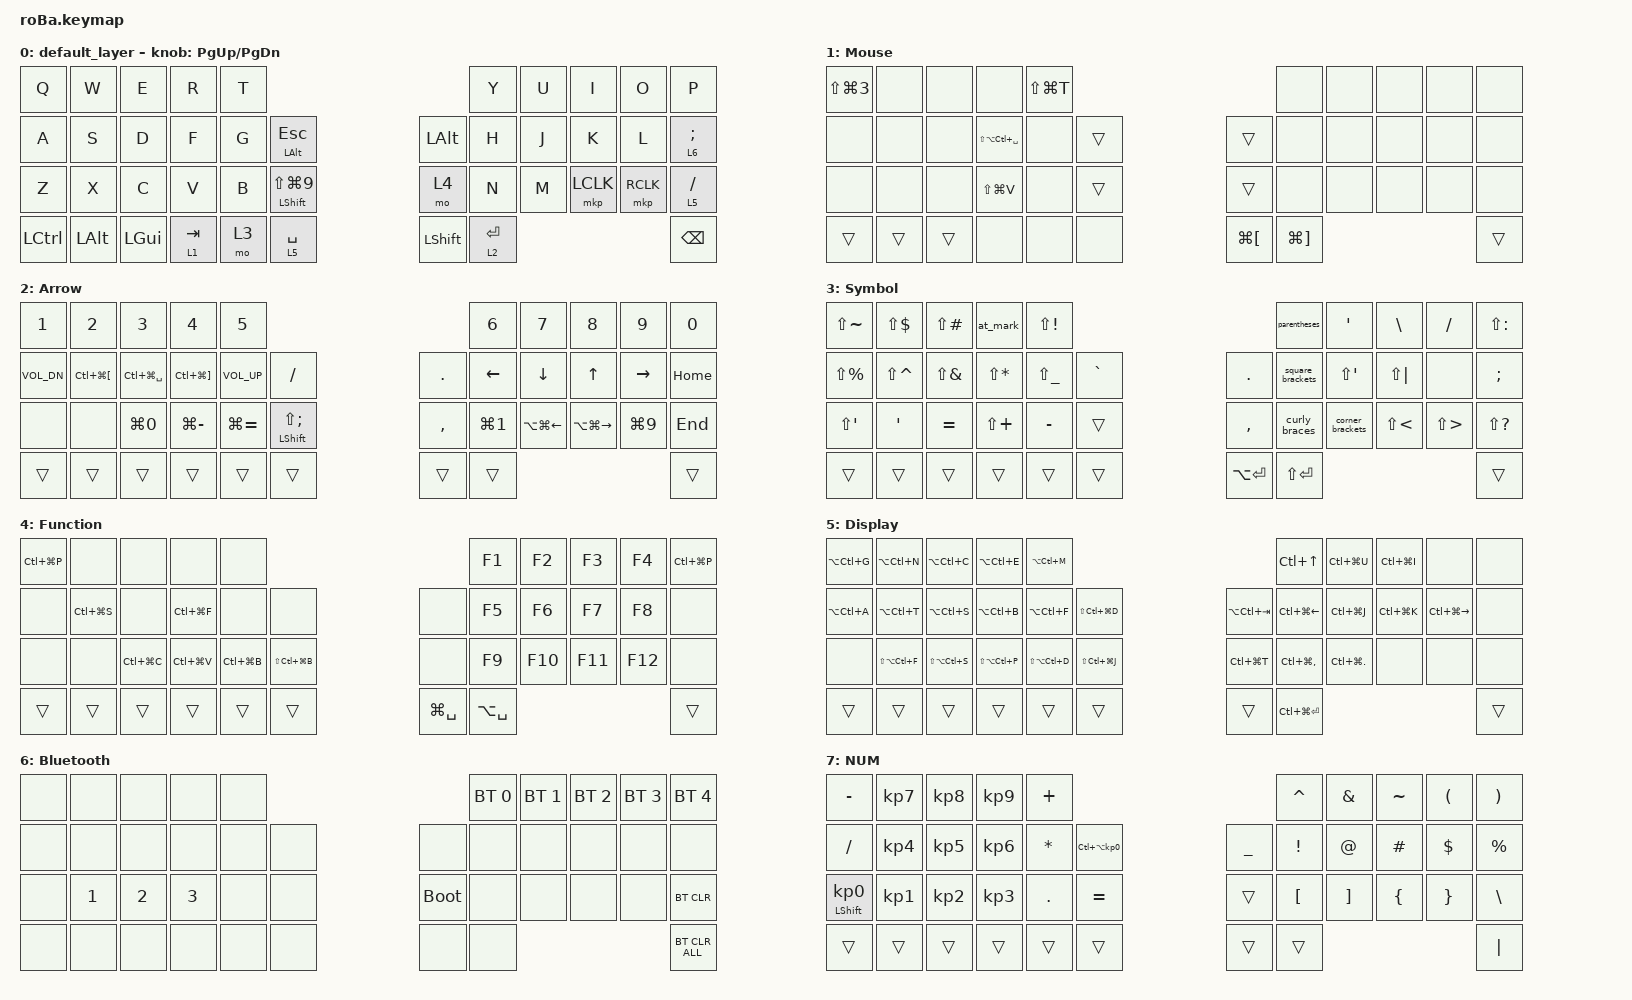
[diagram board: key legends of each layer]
#include <behaviors.dtsi>
#include <dt-bindings/zmk/bt.h>
#include <dt-bindings/zmk/keys.h>
#include <dt-bindings/zmk/pointing.h>

#define MOUSE 4
#define SCROLL 5
#define NUM 6

&mt {
    flavor = "balanced";
    quick-tap-ms = <0>;
};

/ {
    combos {
        compatible = "zmk,combos";

        esc {
            bindings = <&kp ESC>;
            key-positions = <0 1>;
        };

        ime {
            bindings = <&kp LC(SPACE)>;
            key-positions = <18 19>;
        };

        comma {
            bindings = <&kp COMMA>;
            key-positions = <30 31>;
            layers = <0 2>;
        };

        period {
            bindings = <&kp PERIOD>;
            key-positions = <31 32>;
            layers = <0 2>;
        };

        question {
            bindings = <&kp LS(SLASH)>;
            key-positions = <32 33>;
        };

        switcher {
            bindings = <&kp LA(LG(TAB))>;
            key-positions = <8 9>;
        };

        code_block {
            bindings = <&code_block>;
            key-positions = <14 15>;
        };
    };

    macros {
        to_layer_0: to_layer_0 {
            compatible = "zmk,behavior-macro-one-param";
            #binding-cells = <1>;
            bindings = <&to 0 &macro_param_1to1 &kp MACRO_PLACEHOLDER>;
            label = "TO_LAYER_0";
        };

        code_block: code_block {
            compatible = "zmk,behavior-macro";
            #binding-cells = <0>;
            bindings = <&kp LANGUAGE_2 &kp GRAVE &kp GRAVE &kp GRAVE>;
            label = "CODE_BLOCK";
        };

        parentheses: parentheses {
            compatible = "zmk,behavior-macro";
            #binding-cells = <0>;
            bindings = <&kp LANGUAGE_2 &kp LPAR &kp RPAR &kp LEFT_ARROW>;
            label = "PARENTHESES";
        };

        square_brackets: square_brackets {
            compatible = "zmk,behavior-macro";
            #binding-cells = <0>;
            bindings = <&kp LANGUAGE_2 &kp LEFT_BRACKET &kp RIGHT_BRACKET &kp LEFT_ARROW>;
            label = "SQUARE_BRACKETS";
        };

        curly_braces: curly_braces {
            compatible = "zmk,behavior-macro";
            #binding-cells = <0>;
            bindings = <&kp LANGUAGE_2 &kp LS(LEFT_BRACKET) &kp LS(RIGHT_BRACKET) &kp LEFT_ARROW>;
            label = "CURLY_BRACES";
        };

        at_mark: at_mark {
            compatible = "zmk,behavior-macro";
            #binding-cells = <0>;
            bindings = <&kp LANG2 &kp AT_SIGN>;
            label = "AT_MARK";
        };

        corner_brackets: corner_brackets {
            compatible = "zmk,behavior-macro";
            #binding-cells = <0>;
            bindings = <&kp LANGUAGE_1 &kp LBKT &kp RIGHT_BRACKET &kp ENTER &kp LEFT_ARROW>;
            label = "CORNER_BRACKETS";
        };
    };

    behaviors {
        lt_to_layer_0: lt_to_layer_0 {
            compatible = "zmk,behavior-hold-tap";
            label = "LAYER_TAP_TO_0";
            bindings = <&mo>, <&to_layer_0>;

            #binding-cells = <2>;
            tapping-term-ms = <200>;
        };
    };

    keymap {
        compatible = "zmk,keymap";

        default_layer {
            bindings = <
&kp Q      &kp W         &kp E         &kp R      &kp T                                                       &kp Y        &kp U  &kp I      &kp O      &kp P
&kp A      &kp S         &kp D         &kp F      &kp G  &mt LEFT_ALT ESCAPE                  &kp LEFT_ALT    &kp H        &kp J  &kp K      &kp L      &lt 6 SEMICOLON
&kp Z      &kp X         &kp C         &kp V      &kp B  &mt LEFT_SHIFT LS(LG(NUMBER_9))      &mo 4           &kp N        &kp M  &mkp LCLK  &mkp RCLK  &lt 5 SLASH
&kp LCTRL  &kp LEFT_ALT  &kp LEFT_GUI  &lt 1 TAB  &mo 3  &lt 5 SPACE                          &kp LEFT_SHIFT  &lt 2 ENTER                               &kp BACKSPACE
            >;

            sensor-bindings = <&inc_dec_kp PG_UP PAGE_DOWN>;
        };

        Mouse {
            bindings = <
&kp LS(LG(NUMBER_3))  &none   &none   &none                  &kp LS(LG(T))                                    &none                  &none  &none  &none  &none
&none                 &none   &none   &kp LS(LA(LC(SPACE)))  &none          &trans      &trans                &none                  &none  &none  &none  &none
&none                 &none   &none   &kp LS(LG(V))          &none          &trans      &trans                &none                  &none  &none  &none  &none
&trans                &trans  &trans  &none                  &none          &none       &kp LG(LEFT_BRACKET)  &kp LG(RIGHT_BRACKET)                       &trans
            >;
        };

        Arrow {
            bindings = <
&kp N1        &kp N2                    &kp N3             &kp N4                     &kp N5                                                         &kp N6            &kp N7                  &kp N8                   &kp N9            &kp N0
&kp C_VOL_DN  &kp LC(LG(LEFT_BRACKET))  &kp LC(LG(SPACE))  &kp LC(LG(RIGHT_BRACKET))  &kp C_VOLUME_UP  &kp SLASH                         &kp PERIOD  &kp LEFT          &kp DOWN                &kp UP                   &kp RIGHT         &kp HOME
&none         &none                     &kp LG(NUMBER_0)   &kp LG(MINUS)              &kp LG(EQUAL)    &mt LEFT_SHIFT LS(SEMICOLON)      &kp COMMA   &kp LG(NUMBER_1)  &kp LA(LG(LEFT_ARROW))  &kp LA(LG(RIGHT_ARROW))  &kp LG(NUMBER_9)  &kp END
&trans        &trans                    &trans             &trans                     &trans           &trans                            &trans      &trans                                                                               &trans
            >;
        };

        Symbol {
            bindings = <
&kp LS(TILDE)         &kp LS(DLLR)      &kp LS(POUND)  &at_mark      &kp LS(EXCL)                                 &parentheses      &kp SQT           &kp BSLH      &kp FSLH    &kp LS(COLON)
&kp LS(PRCNT)         &kp LS(CARET)     &kp LS(AMPS)   &kp LS(STAR)  &kp LS(UNDER)  &kp GRAVE      &kp DOT        &square_brackets  &kp LS(SQT)       &kp LS(PIPE)  &none       &kp SEMI
&kp LS(SINGLE_QUOTE)  &kp SINGLE_QUOTE  &kp EQUAL      &kp LS(PLUS)  &kp MINUS      &trans         &kp COMMA      &curly_braces     &corner_brackets  &kp LS(LT)    &kp LS(GT)  &kp LS(QMARK)
&trans                &trans            &trans         &trans        &trans         &trans         &kp LA(ENTER)  &kp LS(ENTER)                                                 &trans
            >;
        };

        Function {
            bindings = <
&kp LC(LG(P))  &none          &none          &none          &none                                                &kp F1         &kp F2   &kp F3   &kp F4   &kp LC(LG(P))
&none          &kp LC(LG(S))  &none          &kp LC(LG(F))  &none          &none                  &none          &kp F5         &kp F6   &kp F7   &kp F8   &none
&none          &none          &kp LC(LG(C))  &kp LC(LG(V))  &kp LC(LG(B))  &kp LS(LC(LG(B)))      &none          &kp F9         &kp F10  &kp F11  &kp F12  &none
&trans         &trans         &trans         &trans         &trans         &trans                 &kp LG(SPACE)  &kp LA(SPACE)                             &trans
            >;
        };

        Display {
            bindings = <
&kp LA(LC(G))  &kp LA(LC(N))      &kp LA(LC(C))      &kp LA(LC(E))      &kp LA(LC(M))                                              &kp LC(UP_ARROW)        &kp LC(LG(U))       &kp LC(LG(I))  &none                    &none
&kp LA(LC(A))  &kp LA(LC(T))      &kp LA(LC(S))      &kp LA(LC(B))      &kp LA(LC(F))      &kp LS(LC(LG(D)))      &kp LA(LC(TAB))  &kp LC(LG(LEFT_ARROW))  &kp LC(LG(J))       &kp LC(LG(K))  &kp LC(LG(RIGHT_ARROW))  &none
&none          &kp LS(LA(LC(F)))  &kp LS(LA(LC(S)))  &kp LS(LA(LC(P)))  &kp LS(LA(LC(D)))  &kp LS(LC(LG(J)))      &kp LC(LG(T))    &kp LC(LG(COMMA))       &kp LC(LG(PERIOD))  &none          &none                    &none
&trans         &trans             &trans             &trans             &trans             &trans                 &trans           &kp LC(LG(ENTER))                                                                   &trans
            >;
        };

        Bluetooth {
            bindings = <
&none  &none         &none         &none         &none                          &bt BT_SEL 0  &bt BT_SEL 1  &bt BT_SEL 2  &bt BT_SEL 3  &bt BT_SEL 4
&none  &none         &none         &none         &none  &none      &none        &none         &none         &none         &none         &none
&none  &kp NUMBER_1  &kp NUMBER_2  &kp NUMBER_3  &none  &none      &bootloader  &none         &none         &none         &none         &bt BT_CLR
&none  &none         &none         &none         &none  &none      &none        &none                                                   &bt BT_CLR_ALL
            >;
        };

        NUM {
            bindings = <
&kp MINUS                   &kp KP_NUMBER_7  &kp KP_NUMBER_8  &kp KP_NUMBER_9  &kp PLUS                                                   &kp CARET         &kp AMPERSAND      &kp TILDE       &kp LEFT_PARENTHESIS  &kp RIGHT_PARENTHESIS
&kp SLASH                   &kp KP_NUMBER_4  &kp KP_NUMBER_5  &kp KP_NUMBER_6  &kp ASTERISK  &kp LC(LA(KP_NUMBER_0))      &kp UNDERSCORE  &kp EXCLAMATION   &kp AT_SIGN        &kp HASH        &kp DOLLAR            &kp PERCENT
&mt LEFT_SHIFT KP_NUMBER_0  &kp KP_NUMBER_1  &kp KP_NUMBER_2  &kp KP_NUMBER_3  &kp PERIOD    &kp EQUAL                    &trans          &kp LEFT_BRACKET  &kp RIGHT_BRACKET  &kp LEFT_BRACE  &kp RIGHT_BRACE       &kp BACKSLASH
&trans                      &trans           &trans           &trans           &trans        &trans                       &trans          &trans                                                                     &kp PIPE
            >;
        };
    };
};
